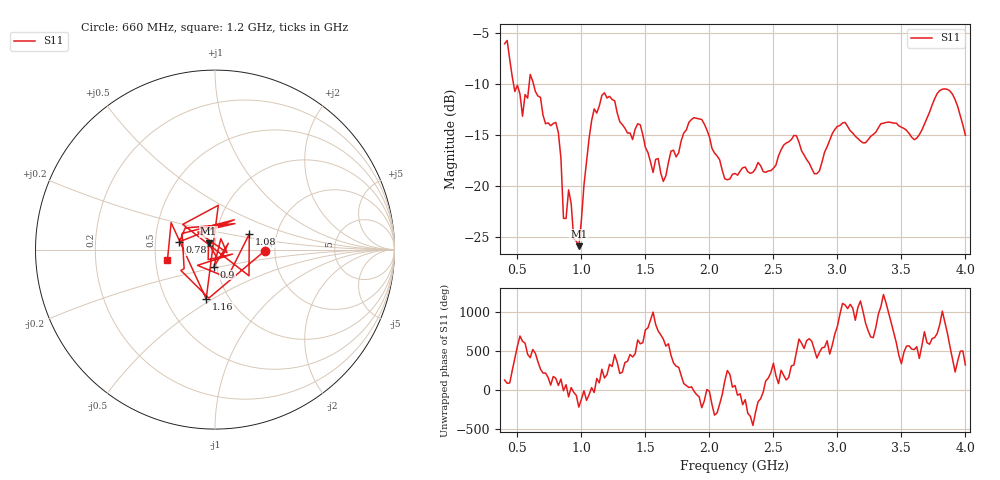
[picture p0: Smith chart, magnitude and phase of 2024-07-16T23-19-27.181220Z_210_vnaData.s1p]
!Created with skrf (http://scikit-rf.org).
# Hz S RI R 50.0
!freq ReS11 ImS11
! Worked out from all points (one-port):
!   181 points, 400 MHz to 4 GHz, reference 50 ohm
!   lowest |S11| = -26.0 dB at 980 MHz (marker M1), VSWR 1.11, Z = 46.4 + j3.32 ohm
!   |S11| at or under -10 dB: 470 MHz to 591.7 MHz (121.7 MHz wide, 22.9 % of centre); 625.9 MHz to end of sweep
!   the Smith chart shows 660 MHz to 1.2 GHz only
!   S11 on the Smith chart (normalised r, x): 660 MHz: 1.77, -0.03; 780 MHz: 0.67, +0.06; 900 MHz: 0.97, -0.19; 1.08 GHz: 1.44, +0.26; 1.16 GHz: 0.78, -0.47; 1.2 GHz: 0.58, -0.07
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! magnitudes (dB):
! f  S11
! 400 MHz  -6.0
! 540 MHz  -13.2
! 600 MHz  -9.0
! 660 MHz  -11.2
! 780 MHz  -13.9
! 820 MHz  -14.8
! 860 MHz  -23.2
! 900 MHz  -20.4
! 940 MHz  -25.2
! 980 MHz  -26.0
! 1.08 GHz  -13.6
! 1.16 GHz  -11.1
! 1.2 GHz  -11.4
! 1.3 GHz  -13.7
! 1.46 GHz  -14.0
! 1.64 GHz  -19.6
! 1.76 GHz  -16.7
! 1.94 GHz  -13.5
! 2.12 GHz  -19.3
! 2.2 GHz  -18.8
! 2.48 GHz  -18.5
! 2.66 GHz  -15.0
! 2.84 GHz  -18.8
! 2.98 GHz  -14.5
! 3.1 GHz  -14.6
! 3.56 GHz  -14.8
! 3.84 GHz  -10.5
! 4 GHz  -15.0
